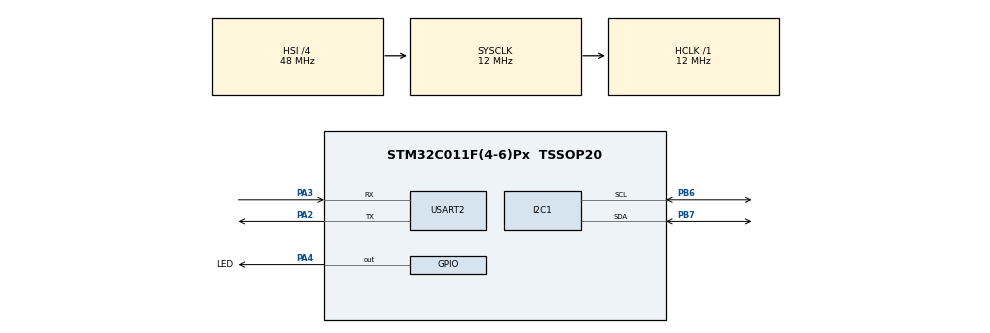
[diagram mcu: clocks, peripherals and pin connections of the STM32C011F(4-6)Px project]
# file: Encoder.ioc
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Dma.Request0=USART2_RX
Dma.USART2_RX.0.Direction=DMA_PERIPH_TO_MEMORY
Dma.USART2_RX.0.EventEnable=DISABLE
Dma.USART2_RX.0.Instance=DMA1_Channel1
Dma.USART2_RX.0.MemDataAlignment=DMA_MDATAALIGN_BYTE
Dma.USART2_RX.0.MemInc=DMA_MINC_ENABLE
Dma.USART2_RX.0.Mode=DMA_CIRCULAR
Dma.USART2_RX.0.PeriphDataAlignment=DMA_PDATAALIGN_BYTE
Dma.USART2_RX.0.PeriphInc=DMA_PINC_DISABLE
Dma.USART2_RX.0.Polarity=HAL_DMAMUX_REQ_GEN_RISING
Dma.USART2_RX.0.Priority=DMA_PRIORITY_HIGH
Dma.USART2_RX.0.RequestNumber=1
Dma.USART2_RX.0.SignalID=NONE
Dma.USART2_RX.0.SyncEnable=DISABLE
Dma.USART2_RX.0.SyncPolarity=HAL_DMAMUX_SYNC_NO_EVENT
Dma.USART2_RX.0.SyncRequestNumber=1
Dma.USART2_RX.0.SyncSignalID=NONE
I2C1.Timing=0x40000A0B
Mcu.Family=STM32C0
Mcu.Name=STM32C011F(4-6)Px
Mcu.Package=TSSOP20
NVIC.DMA1_Channel1_IRQn=true\:0\:0\:false\:false\:true\:false\:true\:true
NVIC.TIM3_IRQn=true\:0\:0\:false\:false\:true\:true\:true\:true
PA13.Mode=Serial_Wire
PA13.Signal=DEBUG_SWDIO
PA14-BOOT0.Mode=Serial_Wire
PA14-BOOT0.Signal=DEBUG_SWCLK
PA2.Mode=Asynchronous
PA2.Signal=USART2_TX
PA3.Mode=Asynchronous
PA3.Signal=USART2_RX
PA4.GPIO_Label=LED
PA4.Signal=GPIO_Output
PB6.Mode=I2C
PB6.Signal=I2C1_SCL
PB7.Mode=I2C
PB7.Signal=I2C1_SDA
ProjectManager.HeapSize=0x200
ProjectManager.StackSize=0x400
ProjectManager.TargetToolchain=STM32CubeIDE
RCC.ADCFreq_Value=12000000
RCC.AHBFreq_Value=12000000
RCC.CortexFreq_Value=12000000
RCC.EXTERNAL_CLOCK_VALUE=12288000
RCC.HCLKFreq_Value=12000000
RCC.HSE_VALUE=8000000
RCC.HSI_VALUE=48000000
RCC.LSE_VALUE=32768
RCC.SYSCLKFreq_VALUE=12000000
TIM3.Prescaler=12-1
USART2.VirtualMode-Asynchronous=VM_ASYNC
VP_TIM3_VS_ClockSourceINT.Mode=Internal
board=custom

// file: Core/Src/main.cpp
/* USER CODE BEGIN Header */
/**
  ******************************************************************************
  * @file           : main.c
  * @brief          : Main program body
  ******************************************************************************
  * @attention
  *
  * Copyright (c) 2024 STMicroelectronics.
  * All rights reserved.
  *
  * This software is licensed under terms that can be found in the LICENSE file
  * in the root directory of this software component.
  * If no LICENSE file comes with this software, it is provided AS-IS.
  *
  ******************************************************************************
  */
/* USER CODE END Header */
#include "main.h"

/* USER CODE BEGIN Includes */
#include "as5600.h"
#include "sdma_transmit.h"

/* USER CODE END Includes */

I2C_HandleTypeDef hi2c1;

TIM_HandleTypeDef htim3;

UART_HandleTypeDef huart2;
DMA_HandleTypeDef hdma_usart2_rx;

/* USER CODE BEGIN PV */
volatile uint32_t m_counter;
unsigned long micro_time;
unsigned long pmicro_time;
int16_t dtime;
int travel;
int speed;

AS5600 enc(&hi2c1);
SDMA_TRANSMIT toMotor(&huart2, 0);

/* USER CODE END PV */

void SystemClock_Config(void);
static void MX_GPIO_Init(void);
static void MX_DMA_Init(void);
static void MX_TIM3_Init(void);
static void MX_I2C1_Init(void);
static void MX_USART2_UART_Init(void);

/* USER CODE BEGIN 0 */
uint64_t readCounter()
{
  return (m_counter*65535) + TIM3->CNT;
}

void HAL_TIM_PeriodElapsedCallback(TIM_HandleTypeDef *htim)
{
    if (htim == &htim3){
        m_counter++;
    }
}
/* USER CODE END 0 */

int main(void)
{

  /* MCU Configuration--------------------------------------------------------*/

  /* Reset of all peripherals, Initializes the Flash interface and the Systick. */
  HAL_Init();

  /* Configure the system clock */
  SystemClock_Config();

  /* Initialize all configured peripherals */
  MX_GPIO_Init();
  MX_DMA_Init();
  MX_TIM3_Init();
  MX_I2C1_Init();
  MX_USART2_UART_Init();
  /* USER CODE BEGIN 2 */
  HAL_TIM_Base_Start_IT(&htim3);
  HAL_GPIO_WritePin(LED_GPIO_Port, LED_Pin,  GPIO_PIN_SET);

  toMotor.begin_dma();

  /* USER CODE END 2 */

  /* Infinite loop */
  while (1)
  {

    /* USER CODE BEGIN 3 */
    micro_time = readCounter();
    dtime = micro_time - pmicro_time;

    speed = enc.get_speed(dtime);
    toMotor.check_buf(speed);

    pmicro_time = micro_time;
  }
  /* USER CODE END 3 */
}

void SystemClock_Config(void)
{
  RCC_OscInitTypeDef RCC_OscInitStruct = {0};
  RCC_ClkInitTypeDef RCC_ClkInitStruct = {0};

  /** Initializes the RCC Oscillators according to the specified parameters
  * in the RCC_OscInitTypeDef structure.
  */
  RCC_OscInitStruct.OscillatorType = RCC_OSCILLATORTYPE_HSI;
  RCC_OscInitStruct.HSIState = RCC_HSI_ON;
  RCC_OscInitStruct.HSIDiv = RCC_HSI_DIV4;
  RCC_OscInitStruct.HSICalibrationValue = RCC_HSICALIBRATION_DEFAULT;
  if (HAL_RCC_OscConfig(&RCC_OscInitStruct) != HAL_OK)
  {
    Error_Handler();
  }

  /** Initializes the CPU, AHB and APB buses clocks
  */
  RCC_ClkInitStruct.ClockType = RCC_CLOCKTYPE_HCLK|RCC_CLOCKTYPE_SYSCLK
                              |RCC_CLOCKTYPE_PCLK1;
  RCC_ClkInitStruct.SYSCLKSource = RCC_SYSCLKSOURCE_HSI;
  RCC_ClkInitStruct.SYSCLKDivider = RCC_SYSCLK_DIV1;
  RCC_ClkInitStruct.AHBCLKDivider = RCC_HCLK_DIV1;
  RCC_ClkInitStruct.APB1CLKDivider = RCC_APB1_DIV1;

  if (HAL_RCC_ClockConfig(&RCC_ClkInitStruct, FLASH_LATENCY_0) != HAL_OK)
  {
    Error_Handler();
  }
}

static void MX_I2C1_Init(void)
{

  hi2c1.Instance = I2C1;
  hi2c1.Init.Timing = 0x40000A0B;
  hi2c1.Init.OwnAddress1 = 0;
  hi2c1.Init.AddressingMode = I2C_ADDRESSINGMODE_7BIT;
  hi2c1.Init.DualAddressMode = I2C_DUALADDRESS_DISABLE;
  hi2c1.Init.OwnAddress2 = 0;
  hi2c1.Init.OwnAddress2Masks = I2C_OA2_NOMASK;
  hi2c1.Init.GeneralCallMode = I2C_GENERALCALL_DISABLE;
  hi2c1.Init.NoStretchMode = I2C_NOSTRETCH_DISABLE;
  if (HAL_I2C_Init(&hi2c1) != HAL_OK)
  {
    Error_Handler();
  }

  /** Configure Analogue filter
  */
  if (HAL_I2CEx_ConfigAnalogFilter(&hi2c1, I2C_ANALOGFILTER_ENABLE) != HAL_OK)
  {
    Error_Handler();
  }

  /** Configure Digital filter
  */
  if (HAL_I2CEx_ConfigDigitalFilter(&hi2c1, 0) != HAL_OK)
  {
    Error_Handler();
  }

}

static void MX_TIM3_Init(void)
{

  TIM_ClockConfigTypeDef sClockSourceConfig = {0};
  TIM_MasterConfigTypeDef sMasterConfig = {0};

  htim3.Instance = TIM3;
  htim3.Init.Prescaler = 12-1;
  htim3.Init.CounterMode = TIM_COUNTERMODE_UP;
  htim3.Init.Period = 65535;
  htim3.Init.ClockDivision = TIM_CLOCKDIVISION_DIV1;
  htim3.Init.AutoReloadPreload = TIM_AUTORELOAD_PRELOAD_DISABLE;
  if (HAL_TIM_Base_Init(&htim3) != HAL_OK)
  {
    Error_Handler();
  }
  sClockSourceConfig.ClockSource = TIM_CLOCKSOURCE_INTERNAL;
  if (HAL_TIM_ConfigClockSource(&htim3, &sClockSourceConfig) != HAL_OK)
  {
    Error_Handler();
  }
  sMasterConfig.MasterOutputTrigger = TIM_TRGO_RESET;
  sMasterConfig.MasterSlaveMode = TIM_MASTERSLAVEMODE_DISABLE;
  if (HAL_TIMEx_MasterConfigSynchronization(&htim3, &sMasterConfig) != HAL_OK)
  {
    Error_Handler();
  }

}

static void MX_USART2_UART_Init(void)
{

  huart2.Instance = USART2;
  huart2.Init.BaudRate = 115200;
  huart2.Init.WordLength = UART_WORDLENGTH_8B;
  huart2.Init.StopBits = UART_STOPBITS_1;
  huart2.Init.Parity = UART_PARITY_NONE;
  huart2.Init.Mode = UART_MODE_TX_RX;
  huart2.Init.HwFlowCtl = UART_HWCONTROL_NONE;
  huart2.Init.OverSampling = UART_OVERSAMPLING_16;
  huart2.Init.OneBitSampling = UART_ONE_BIT_SAMPLE_DISABLE;
  huart2.Init.ClockPrescaler = UART_PRESCALER_DIV1;
  huart2.AdvancedInit.AdvFeatureInit = UART_ADVFEATURE_NO_INIT;
  if (HAL_UART_Init(&huart2) != HAL_OK)
  {
    Error_Handler();
  }

}

static void MX_DMA_Init(void)
{

  /* DMA controller clock enable */
  __HAL_RCC_DMA1_CLK_ENABLE();

  /* DMA interrupt init */
  /* DMA1_Channel1_IRQn interrupt configuration */
  HAL_NVIC_SetPriority(DMA1_Channel1_IRQn, 0, 0);
  HAL_NVIC_EnableIRQ(DMA1_Channel1_IRQn);

}

static void MX_GPIO_Init(void)
{
  GPIO_InitTypeDef GPIO_InitStruct = {0};

  /* GPIO Ports Clock Enable */
  __HAL_RCC_GPIOB_CLK_ENABLE();
  __HAL_RCC_GPIOA_CLK_ENABLE();

  /*Configure GPIO pin Output Level */
  HAL_GPIO_WritePin(LED_GPIO_Port, LED_Pin, GPIO_PIN_RESET);

  /*Configure GPIO pin : LED_Pin */
  GPIO_InitStruct.Pin = LED_Pin;
  GPIO_InitStruct.Mode = GPIO_MODE_OUTPUT_PP;
  GPIO_InitStruct.Pull = GPIO_NOPULL;
  GPIO_InitStruct.Speed = GPIO_SPEED_FREQ_LOW;
  HAL_GPIO_Init(LED_GPIO_Port, &GPIO_InitStruct);

}

void Error_Handler(void)
{
  __disable_irq();
  while (1)
  {
  }
}
